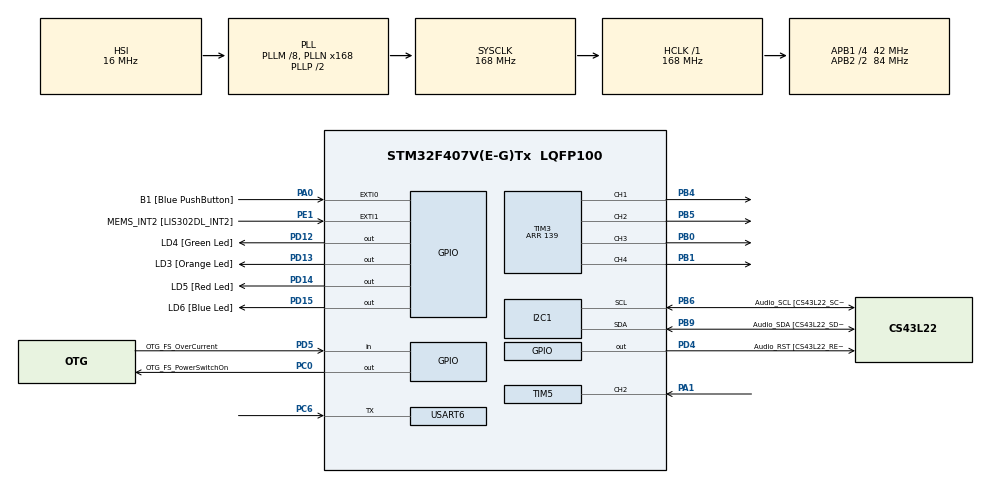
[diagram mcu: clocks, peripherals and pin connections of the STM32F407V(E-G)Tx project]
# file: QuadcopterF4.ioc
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Dma.Request0=TIM3_CH1/TRIG
Dma.Request1=TIM3_CH2
Dma.Request2=TIM3_CH3
Dma.Request3=TIM3_CH4/UP
Dma.Request4=USART6_RX
Dma.TIM3_CH1/TRIG.0.Direction=DMA_MEMORY_TO_PERIPH
Dma.TIM3_CH1/TRIG.0.FIFOMode=DMA_FIFOMODE_DISABLE
Dma.TIM3_CH1/TRIG.0.Instance=DMA1_Stream4
Dma.TIM3_CH1/TRIG.0.MemDataAlignment=DMA_MDATAALIGN_WORD
Dma.TIM3_CH1/TRIG.0.MemInc=DMA_MINC_ENABLE
Dma.TIM3_CH1/TRIG.0.Mode=DMA_CIRCULAR
Dma.TIM3_CH1/TRIG.0.PeriphDataAlignment=DMA_PDATAALIGN_WORD
Dma.TIM3_CH1/TRIG.0.PeriphInc=DMA_PINC_DISABLE
Dma.TIM3_CH1/TRIG.0.Priority=DMA_PRIORITY_VERY_HIGH
Dma.TIM3_CH2.1.Direction=DMA_MEMORY_TO_PERIPH
Dma.TIM3_CH2.1.FIFOMode=DMA_FIFOMODE_DISABLE
Dma.TIM3_CH2.1.Instance=DMA1_Stream5
Dma.TIM3_CH2.1.MemDataAlignment=DMA_MDATAALIGN_WORD
Dma.TIM3_CH2.1.MemInc=DMA_MINC_ENABLE
Dma.TIM3_CH2.1.Mode=DMA_CIRCULAR
Dma.TIM3_CH2.1.PeriphDataAlignment=DMA_PDATAALIGN_WORD
Dma.TIM3_CH2.1.PeriphInc=DMA_PINC_DISABLE
Dma.TIM3_CH2.1.Priority=DMA_PRIORITY_VERY_HIGH
Dma.TIM3_CH3.2.Direction=DMA_MEMORY_TO_PERIPH
Dma.TIM3_CH3.2.FIFOMode=DMA_FIFOMODE_DISABLE
Dma.TIM3_CH3.2.Instance=DMA1_Stream7
Dma.TIM3_CH3.2.MemDataAlignment=DMA_MDATAALIGN_WORD
Dma.TIM3_CH3.2.MemInc=DMA_MINC_ENABLE
Dma.TIM3_CH3.2.Mode=DMA_CIRCULAR
Dma.TIM3_CH3.2.PeriphDataAlignment=DMA_PDATAALIGN_WORD
Dma.TIM3_CH3.2.PeriphInc=DMA_PINC_DISABLE
Dma.TIM3_CH3.2.Priority=DMA_PRIORITY_VERY_HIGH
Dma.TIM3_CH4/UP.3.Direction=DMA_MEMORY_TO_PERIPH
Dma.TIM3_CH4/UP.3.FIFOMode=DMA_FIFOMODE_DISABLE
Dma.TIM3_CH4/UP.3.Instance=DMA1_Stream2
Dma.TIM3_CH4/UP.3.MemDataAlignment=DMA_MDATAALIGN_WORD
Dma.TIM3_CH4/UP.3.MemInc=DMA_MINC_ENABLE
Dma.TIM3_CH4/UP.3.Mode=DMA_CIRCULAR
Dma.TIM3_CH4/UP.3.PeriphDataAlignment=DMA_PDATAALIGN_WORD
Dma.TIM3_CH4/UP.3.PeriphInc=DMA_PINC_DISABLE
Dma.TIM3_CH4/UP.3.Priority=DMA_PRIORITY_VERY_HIGH
Dma.USART6_RX.4.Direction=DMA_PERIPH_TO_MEMORY
Dma.USART6_RX.4.FIFOMode=DMA_FIFOMODE_DISABLE
Dma.USART6_RX.4.Instance=DMA2_Stream1
Dma.USART6_RX.4.MemDataAlignment=DMA_MDATAALIGN_BYTE
Dma.USART6_RX.4.MemInc=DMA_MINC_ENABLE
Dma.USART6_RX.4.Mode=DMA_NORMAL
Dma.USART6_RX.4.PeriphDataAlignment=DMA_PDATAALIGN_BYTE
Dma.USART6_RX.4.PeriphInc=DMA_PINC_DISABLE
Dma.USART6_RX.4.Priority=DMA_PRIORITY_HIGH
I2C1.I2C_Mode=I2C_Fast
Mcu.Family=STM32F4
Mcu.Name=STM32F407V(E-G)Tx
Mcu.Package=LQFP100
NVIC.DMA1_Stream2_IRQn=true\:0\:0\:false\:false\:true\:false\:true
NVIC.DMA1_Stream4_IRQn=true\:0\:0\:false\:false\:true\:false\:true
NVIC.DMA1_Stream5_IRQn=true\:0\:0\:false\:false\:true\:false\:true
NVIC.DMA1_Stream7_IRQn=true\:0\:0\:false\:false\:true\:false\:true
NVIC.DMA2_Stream1_IRQn=true\:0\:0\:false\:false\:true\:false\:true
NVIC.PriorityGroup=NVIC_PRIORITYGROUP_0
NVIC.TIM5_IRQn=true\:0\:0\:false\:false\:true\:true\:true
NVIC.TIM7_IRQn=true\:0\:0\:false\:false\:true\:true\:true
PA0-WKUP.GPIO_Label=B1 [Blue PushButton]
PA0-WKUP.Signal=GPXTI0
PA1.GPIO_PuPd=GPIO_PULLDOWN
PA1.Signal=S_TIM5_CH2
PA10.GPIO_Label=OTG_FS_ID
PA10.GPIO_Mode=GPIO_MODE_AF_PP
PA10.GPIO_PuPd=GPIO_NOPULL
PA10.GPIO_Speed=GPIO_SPEED_FREQ_LOW
PA10.Signal=USB_OTG_FS_ID
PA11.GPIO_Label=OTG_FS_DM
PA11.GPIO_Mode=GPIO_MODE_AF_PP
PA11.GPIO_PuPd=GPIO_NOPULL
PA11.GPIO_Speed=GPIO_SPEED_FREQ_LOW
PA11.Signal=USB_OTG_FS_DM
PA12.GPIO_Label=OTG_FS_DP
PA12.GPIO_Mode=GPIO_MODE_AF_PP
PA12.GPIO_PuPd=GPIO_NOPULL
PA12.GPIO_Speed=GPIO_SPEED_FREQ_LOW
PA12.Signal=USB_OTG_FS_DP
PA13.GPIO_Label=SWDIO
PA13.Signal=SYS_JTMS-SWDIO
PA14.GPIO_Label=SWCLK
PA14.Signal=SYS_JTCK-SWCLK
PA4.GPIO_Label=I2S3_WS [CS43L22_LRCK]
PA4.GPIO_Mode=GPIO_MODE_AF_PP
PA4.GPIO_PuPd=GPIO_NOPULL
PA4.GPIO_Speed=GPIO_SPEED_FREQ_LOW
PA4.Signal=I2S3_WS
PA5.GPIO_Label=SPI1_SCK [LIS302DL_SCL/SPC]
PA5.GPIO_Mode=GPIO_MODE_AF_PP
PA5.GPIO_PuPd=GPIO_NOPULL
PA5.GPIO_Speed=GPIO_SPEED_FREQ_LOW
PA5.Signal=SPI1_SCK
PA6.GPIO_Label=SPI1_MISO [LIS302DL_SDO]
PA6.GPIO_Mode=GPIO_MODE_AF_PP
PA6.GPIO_PuPd=GPIO_NOPULL
PA6.GPIO_Speed=GPIO_SPEED_FREQ_LOW
PA6.Signal=SPI1_MISO
PA7.GPIO_Label=SPI1_MOSI [LIS302DL_SDA/SDI/SDO]
PA7.GPIO_Mode=GPIO_MODE_AF_PP
PA7.GPIO_PuPd=GPIO_NOPULL
PA7.GPIO_Speed=GPIO_SPEED_FREQ_LOW
PA7.Signal=SPI1_MOSI
PA9.GPIO_Label=VBUS_FS
PA9.GPIO_Mode=GPIO_MODE_INPUT
PA9.GPIO_PuPd=GPIO_NOPULL
PA9.Signal=USB_OTG_FS_VBUS
PB0.Signal=S_TIM3_CH3
PB1.Signal=S_TIM3_CH4
PB10.GPIO_Label=CLK_IN [MP45DT02_CLK]
PB10.GPIO_Mode=GPIO_MODE_AF_PP
PB10.GPIO_PuPd=GPIO_NOPULL
PB10.GPIO_Speed=GPIO_SPEED_FREQ_LOW
PB10.Signal=I2S2_CK
PB3.GPIO_Label=SWO
PB3.Signal=SYS_JTDO-SWO
PB4.Signal=S_TIM3_CH1
PB5.Signal=S_TIM3_CH2
PB6.GPIO_Label=Audio_SCL [CS43L22_SCL]
PB6.GPIO_Mode=GPIO_MODE_AF_OD
PB6.GPIO_Pu=GPIO_PULLUP
PB6.GPIO_PuPd=GPIO_NOPULL
PB6.GPIO_Speed=GPIO_SPEED_FREQ_LOW
PB6.Mode=I2C
PB6.Signal=I2C1_SCL
PB9.GPIO_Label=Audio_SDA [CS43L22_SDA]
PB9.GPIO_Mode=GPIO_MODE_AF_OD
PB9.GPIO_Pu=GPIO_PULLUP
PB9.GPIO_PuPd=GPIO_NOPULL
PB9.GPIO_Speed=GPIO_SPEED_FREQ_LOW
PB9.Mode=I2C
PB9.Signal=I2C1_SDA
PC0.GPIO_Label=OTG_FS_PowerSwitchOn
PC0.GPIO_PuPd=GPIO_NOPULL
PC0.GPIO_Speed=GPIO_SPEED_FREQ_LOW
PC0.PinState=GPIO_PIN_SET
PC0.Signal=GPIO_Output
PC10.GPIO_Label=I2S3_SCK [CS43L22_SCLK]
PC10.GPIO_Mode=GPIO_MODE_AF_PP
PC10.GPIO_PuPd=GPIO_NOPULL
PC10.GPIO_Speed=GPIO_SPEED_FREQ_LOW
PC10.Signal=I2S3_CK
PC12.GPIO_Label=I2S3_SD [CS43L22_SDIN]
PC12.GPIO_Mode=GPIO_MODE_AF_PP
PC12.GPIO_PuPd=GPIO_NOPULL
PC12.GPIO_Speed=GPIO_SPEED_FREQ_LOW
PC12.Signal=I2S3_SD
PC14-OSC32_IN.GPIO_Label=PC14-OSC32_IN
PC14-OSC32_IN.Signal=RCC_OSC32_IN
PC15-OSC32_OUT.GPIO_Label=PC15-OSC32_OUT
PC15-OSC32_OUT.Signal=RCC_OSC32_OUT
PC3.GPIO_Label=PDM_OUT [MP45DT02_DOUT]
PC3.GPIO_Mode=GPIO_MODE_AF_PP
PC3.GPIO_PuPd=GPIO_NOPULL
PC3.GPIO_Speed=GPIO_SPEED_FREQ_LOW
PC3.Signal=I2S2_SD
PC6.GPIO_PuPd=GPIO_PULLDOWN
PC6.Mode=Half_duplex(single_wire_mode)
PC6.Signal=USART6_TX
PC7.GPIO_Label=I2S3_MCK [CS43L22_MCLK]
PC7.GPIO_Mode=GPIO_MODE_AF_PP
PC7.GPIO_PuPd=GPIO_NOPULL
PC7.GPIO_Speed=GPIO_SPEED_FREQ_LOW
PC7.Signal=I2S3_MCK
PD12.GPIO_Label=LD4 [Green Led]
PD12.GPIO_PuPd=GPIO_NOPULL
PD12.GPIO_Speed=GPIO_SPEED_FREQ_LOW
PD12.Signal=GPIO_Output
PD13.GPIO_Label=LD3 [Orange Led]
PD13.GPIO_PuPd=GPIO_NOPULL
PD13.GPIO_Speed=GPIO_SPEED_FREQ_LOW
PD13.Signal=GPIO_Output
PD14.GPIO_Label=LD5 [Red Led]
PD14.GPIO_PuPd=GPIO_NOPULL
PD14.GPIO_Speed=GPIO_SPEED_FREQ_LOW
PD14.Signal=GPIO_Output
PD15.GPIO_Label=LD6 [Blue Led]
PD15.GPIO_PuPd=GPIO_NOPULL
PD15.GPIO_Speed=GPIO_SPEED_FREQ_LOW
PD15.Signal=GPIO_Output
PD4.GPIO_Label=Audio_RST [CS43L22_RESET]
PD4.GPIO_PuPd=GPIO_NOPULL
PD4.GPIO_Speed=GPIO_SPEED_FREQ_LOW
PD4.Signal=GPIO_Output
PD5.GPIO_Label=OTG_FS_OverCurrent
PD5.GPIO_Mode=GPIO_MODE_INPUT
PD5.GPIO_PuPd=GPIO_NOPULL
PD5.Signal=GPIO_Input
PE1.GPIO_Label=MEMS_INT2 [LIS302DL_INT2]
PE1.GPIO_ModeDefaultEXTI=GPIO_MODE_EVT_RISING
PE1.GPIO_PuPd=GPIO_NOPULL
PE1.Signal=GPXTI1
PH0-OSC_IN.GPIO_Label=PH0-OSC_IN
PH0-OSC_IN.Signal=RCC_OSC_IN
PH1-OSC_OUT.GPIO_Label=PH1-OSC_OUT
PH1-OSC_OUT.Signal=RCC_OSC_OUT
ProjectManager.HeapSize=0x200
ProjectManager.StackSize=0x400
ProjectManager.TargetToolchain=MDK-ARM V5.32
RCC.48MHZClocksFreq_Value=48000000
RCC.AHBFreq_Value=168000000
RCC.APB1CLKDivider=RCC_HCLK_DIV4
RCC.APB1Freq_Value=42000000
RCC.APB1TimFreq_Value=84000000
RCC.APB2CLKDivider=RCC_HCLK_DIV2
RCC.APB2Freq_Value=84000000
RCC.APB2TimFreq_Value=168000000
RCC.CortexFreq_Value=168000000
RCC.HCLKFreq_Value=168000000
RCC.HSE_VALUE=8000000
RCC.HSI_VALUE=16000000
RCC.LSE_VALUE=32768
RCC.PLLM=8
RCC.PLLN=168
RCC.PLLQ=7
RCC.SYSCLKFreq_VALUE=168000000
RCC.SYSCLKSource=RCC_SYSCLKSOURCE_PLLCLK
RCC.VCOOutputFreq_Value=336000000
SH.S_TIM3_CH1.0=TIM3_CH1,PWM Generation1 CH1
SH.S_TIM3_CH2.0=TIM3_CH2,PWM Generation2 CH2
SH.S_TIM3_CH3.0=TIM3_CH3,PWM Generation3 CH3
SH.S_TIM3_CH4.0=TIM3_CH4,PWM Generation4 CH4
SH.S_TIM5_CH2.0=TIM5_CH2,TriggerSource_TI2FP2
SH.S_TIM5_CH2.1=TIM5_CH2,Input_Capture2_from_TI2
TIM3.Channel-PWM\ Generation1\ CH1=TIM_CHANNEL_1
TIM3.Channel-PWM\ Generation2\ CH2=TIM_CHANNEL_2
TIM3.Channel-PWM\ Generation3\ CH3=TIM_CHANNEL_3
TIM3.Channel-PWM\ Generation4\ CH4=TIM_CHANNEL_4
TIM3.Period=139
TIM5.Channel-Input_Capture2_from_TI2=TIM_CHANNEL_2
TIM5.Channel-Output\ Compare1\ No\ Output=TIM_CHANNEL_1
TIM5.Channel-Output\ Compare3\ No\ Output=TIM_CHANNEL_3
TIM5.Period=14
TIM5.Prescaler=27999
TIM5.Pulse-Output\ Compare1\ No\ Output=9
TIM5.Pulse-Output\ Compare3\ No\ Output=15
TIM7.Period=499
TIM7.Prescaler=41999
USART6.Mode=MODE_RX
USART6.VirtualMode=VM_ASYNC
VP_TIM5_VS_ControllerModeReset.Mode=Reset Mode
VP_TIM5_VS_no_output1.Mode=Output Compare1 No Output
VP_TIM5_VS_no_output3.Mode=Output Compare3 No Output
VP_TIM7_VS_ClockSourceINT.Mode=Enable_Timer
board=STM32F407G-DISC1

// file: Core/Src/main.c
/* USER CODE BEGIN Header */
/**
  ******************************************************************************
  * @file           : main.c
  * @brief          : Main program body
  ******************************************************************************
  * @attention
  *
  * <h2><center>&copy; Copyright (c) 2020 STMicroelectronics.
  * All rights reserved.</center></h2>
  *
  * This software component is licensed by ST under BSD 3-Clause license,
  * the "License"; You may not use this file except in compliance with the
  * License. You may obtain a copy of the License at:
  *                        opensource.org/licenses/BSD-3-Clause
  *
  ******************************************************************************
  */
/* USER CODE END Header */
#include "main.h"

/* USER CODE BEGIN Includes */

#include <stdio.h>
#include "DShot/DShot.h"
#include "Pozyx/Pozyx.h"
#include "Pozyx/Pozyx_definitions.h"
#include "PID/PID.h"
#include "iBus/iBus.h"
#include "Servo/Servo.h"
#include "Motor/Motor.h"

/* USER CODE END Includes */

I2C_HandleTypeDef hi2c1;

TIM_HandleTypeDef htim3;
TIM_HandleTypeDef htim5;
TIM_HandleTypeDef htim7;
DMA_HandleTypeDef hdma_tim3_ch1_trig;
DMA_HandleTypeDef hdma_tim3_ch2;
DMA_HandleTypeDef hdma_tim3_ch3;
DMA_HandleTypeDef hdma_tim3_ch4_up;

UART_HandleTypeDef huart6;
DMA_HandleTypeDef hdma_usart6_rx;

/* USER CODE BEGIN PV */

Motor motor[4];
DShot dshot[] = {{&htim3, TIM_CHANNEL_1}, {&htim3, TIM_CHANNEL_2}, {&htim3, TIM_CHANNEL_3}, {&htim3, TIM_CHANNEL_4}};
iBus ibus(&huart6, &htim5, TIM_CHANNEL_2, TIM_CHANNEL_1, TIM_CHANNEL_3);

uint8_t emniyet;

PozyxClass Pozyx(&hi2c1, 5);
euler_angles_t acilar, referans;

double kontrolSinyali[2];
PID pid_roll, pid_pitch;
double Katsayilar[] = {9, 0.5};
uint16_t w = 280;
uint8_t aralik;

//Servo servo[] = {{ibus, 0, 1, -1500}, {ibus, 1, 1, -1500}, {ibus, 2, 1, -1000}, {ibus, 4, 0.001, -1000}};
int32_t Hiz[4];

/* USER CODE END PV */

void SystemClock_Config(void);
static void MX_GPIO_Init(void);
static void MX_DMA_Init(void);
static void MX_TIM3_Init(void);
static void MX_I2C1_Init(void);
static void MX_USART6_UART_Init(void);
static void MX_TIM5_Init(void);
static void MX_TIM7_Init(void);
/* USER CODE BEGIN PFP */

void DShot_Guncelleme(TIM_HandleTypeDef*);
void PID_Dongusu(TIM_HandleTypeDef*);
void PaketGeldi(UART_HandleTypeDef*);
void Geliyor(TIM_HandleTypeDef*);
void Gelmiyor(TIM_HandleTypeDef*);
void AcikCevrimDenetleyici();
void KapaliCevrimDenetleyici();

/* USER CODE END PFP */

int main(void)
{

  /* MCU Configuration--------------------------------------------------------*/

  /* Reset of all peripherals, Initializes the Flash interface and the Systick. */
  HAL_Init();

  /* Configure the system clock */
  SystemClock_Config();

  /* Initialize all configured peripherals */
  MX_GPIO_Init();
  MX_DMA_Init();
  MX_TIM3_Init();
  MX_I2C1_Init();
  MX_USART6_UART_Init();
  MX_TIM5_Init();
  MX_TIM7_Init();
  /* USER CODE BEGIN 2 */

// 	DShot Baslangiç

	HAL_TIM_RegisterCallback(&htim3, HAL_TIM_PWM_PULSE_FINISHED_CB_ID, &DShot_Guncelleme);
	for (uint8_t i = 0; i < 4; i++)
		dshot[i].Basla();

// 	Denetleyici Baslangiç

//	pid_roll.SetTs(0.25);
//	pid_pitch.SetTs(0.25);
//	HAL_TIM_RegisterCallback(&htim7, HAL_TIM_PERIOD_ELAPSED_CB_ID, &PID_Dongusu);
//	HAL_TIM_Base_Start_IT(&htim7);

//	iBus Baslangiç

//	HAL_UART_RegisterCallback(&huart6, HAL_UART_RX_COMPLETE_CB_ID, &PaketGeldi);
//	HAL_TIM_RegisterCallback(&htim5, HAL_TIM_IC_CAPTURE_CB_ID, &Geliyor);
//	HAL_TIM_RegisterCallback(&htim5, HAL_TIM_OC_DELAY_ELAPSED_CB_ID, &Gelmiyor);
//	ibus.Basla();

//	Pozyx Baslangiç

	Pozyx.begin();

  /* USER CODE END 2 */

  /* Infinite loop */
  /* USER CODE BEGIN WHILE */
  while (1)
  {
	AcikCevrimDenetleyici();

//	pid_roll.SetKpGain(Katsayilar[0]);
//	pid_roll.SetKdGain(Katsayilar[1]);
//
//	pid_pitch.SetKpGain(Katsayilar[0]);
//	pid_pitch.SetKdGain(Katsayilar[1]);

	Pozyx.getEulerAngles_deg(&acilar);
//	while(durum != POZYX_SUCCESS)
//		durum = Pozyx.begin();
    /* USER CODE END WHILE */

  }
}

void SystemClock_Config(void)
{
  RCC_OscInitTypeDef RCC_OscInitStruct = {0};
  RCC_ClkInitTypeDef RCC_ClkInitStruct = {0};

  /** Configure the main internal regulator output voltage
  */
  __HAL_RCC_PWR_CLK_ENABLE();
  __HAL_PWR_VOLTAGESCALING_CONFIG(PWR_REGULATOR_VOLTAGE_SCALE1);
  /** Initializes the RCC Oscillators according to the specified parameters
  * in the RCC_OscInitTypeDef structure.
  */
  RCC_OscInitStruct.OscillatorType = RCC_OSCILLATORTYPE_HSI;
  RCC_OscInitStruct.HSIState = RCC_HSI_ON;
  RCC_OscInitStruct.HSICalibrationValue = RCC_HSICALIBRATION_DEFAULT;
  RCC_OscInitStruct.PLL.PLLState = RCC_PLL_ON;
  RCC_OscInitStruct.PLL.PLLSource = RCC_PLLSOURCE_HSI;
  RCC_OscInitStruct.PLL.PLLM = 8;
  RCC_OscInitStruct.PLL.PLLN = 168;
  RCC_OscInitStruct.PLL.PLLP = RCC_PLLP_DIV2;
  RCC_OscInitStruct.PLL.PLLQ = 7;
  if (HAL_RCC_OscConfig(&RCC_OscInitStruct) != HAL_OK)
  {
    Error_Handler();
  }
  /** Initializes the CPU, AHB and APB buses clocks
  */
  RCC_ClkInitStruct.ClockType = RCC_CLOCKTYPE_HCLK|RCC_CLOCKTYPE_SYSCLK
                              |RCC_CLOCKTYPE_PCLK1|RCC_CLOCKTYPE_PCLK2;
  RCC_ClkInitStruct.SYSCLKSource = RCC_SYSCLKSOURCE_PLLCLK;
  RCC_ClkInitStruct.AHBCLKDivider = RCC_SYSCLK_DIV1;
  RCC_ClkInitStruct.APB1CLKDivider = RCC_HCLK_DIV4;
  RCC_ClkInitStruct.APB2CLKDivider = RCC_HCLK_DIV2;

  if (HAL_RCC_ClockConfig(&RCC_ClkInitStruct, FLASH_LATENCY_5) != HAL_OK)
  {
    Error_Handler();
  }
}

static void MX_I2C1_Init(void)
{

  hi2c1.Instance = I2C1;
  hi2c1.Init.ClockSpeed = 400000;
  hi2c1.Init.DutyCycle = I2C_DUTYCYCLE_2;
  hi2c1.Init.OwnAddress1 = 0;
  hi2c1.Init.AddressingMode = I2C_ADDRESSINGMODE_7BIT;
  hi2c1.Init.DualAddressMode = I2C_DUALADDRESS_DISABLE;
  hi2c1.Init.OwnAddress2 = 0;
  hi2c1.Init.GeneralCallMode = I2C_GENERALCALL_DISABLE;
  hi2c1.Init.NoStretchMode = I2C_NOSTRETCH_DISABLE;
  if (HAL_I2C_Init(&hi2c1) != HAL_OK)
  {
    Error_Handler();
  }

}

static void MX_TIM3_Init(void)
{

  TIM_MasterConfigTypeDef sMasterConfig = {0};
  TIM_OC_InitTypeDef sConfigOC = {0};

  htim3.Instance = TIM3;
  htim3.Init.Prescaler = 0;
  htim3.Init.CounterMode = TIM_COUNTERMODE_UP;
  htim3.Init.Period = 139;
  htim3.Init.ClockDivision = TIM_CLOCKDIVISION_DIV1;
  htim3.Init.AutoReloadPreload = TIM_AUTORELOAD_PRELOAD_DISABLE;
  if (HAL_TIM_PWM_Init(&htim3) != HAL_OK)
  {
    Error_Handler();
  }
  sMasterConfig.MasterOutputTrigger = TIM_TRGO_RESET;
  sMasterConfig.MasterSlaveMode = TIM_MASTERSLAVEMODE_DISABLE;
  if (HAL_TIMEx_MasterConfigSynchronization(&htim3, &sMasterConfig) != HAL_OK)
  {
    Error_Handler();
  }
  sConfigOC.OCMode = TIM_OCMODE_PWM1;
  sConfigOC.Pulse = 0;
  sConfigOC.OCPolarity = TIM_OCPOLARITY_HIGH;
  sConfigOC.OCFastMode = TIM_OCFAST_DISABLE;
  if (HAL_TIM_PWM_ConfigChannel(&htim3, &sConfigOC, TIM_CHANNEL_1) != HAL_OK)
  {
    Error_Handler();
  }
  if (HAL_TIM_PWM_ConfigChannel(&htim3, &sConfigOC, TIM_CHANNEL_2) != HAL_OK)
  {
    Error_Handler();
  }
  if (HAL_TIM_PWM_ConfigChannel(&htim3, &sConfigOC, TIM_CHANNEL_3) != HAL_OK)
  {
    Error_Handler();
  }
  if (HAL_TIM_PWM_ConfigChannel(&htim3, &sConfigOC, TIM_CHANNEL_4) != HAL_OK)
  {
    Error_Handler();
  }
  HAL_TIM_MspPostInit(&htim3);

}

static void MX_TIM5_Init(void)
{

  TIM_SlaveConfigTypeDef sSlaveConfig = {0};
  TIM_MasterConfigTypeDef sMasterConfig = {0};
  TIM_OC_InitTypeDef sConfigOC = {0};
  TIM_IC_InitTypeDef sConfigIC = {0};

  htim5.Instance = TIM5;
  htim5.Init.Prescaler = 27999;
  htim5.Init.CounterMode = TIM_COUNTERMODE_UP;
  htim5.Init.Period = 14;
  htim5.Init.ClockDivision = TIM_CLOCKDIVISION_DIV1;
  htim5.Init.AutoReloadPreload = TIM_AUTORELOAD_PRELOAD_DISABLE;
  if (HAL_TIM_Base_Init(&htim5) != HAL_OK)
  {
    Error_Handler();
  }
  if (HAL_TIM_OC_Init(&htim5) != HAL_OK)
  {
    Error_Handler();
  }
  if (HAL_TIM_IC_Init(&htim5) != HAL_OK)
  {
    Error_Handler();
  }
  sSlaveConfig.SlaveMode = TIM_SLAVEMODE_RESET;
  sSlaveConfig.InputTrigger = TIM_TS_TI2FP2;
  sSlaveConfig.TriggerPolarity = TIM_INPUTCHANNELPOLARITY_RISING;
  sSlaveConfig.TriggerFilter = 0;
  if (HAL_TIM_SlaveConfigSynchro(&htim5, &sSlaveConfig) != HAL_OK)
  {
    Error_Handler();
  }
  sMasterConfig.MasterOutputTrigger = TIM_TRGO_RESET;
  sMasterConfig.MasterSlaveMode = TIM_MASTERSLAVEMODE_DISABLE;
  if (HAL_TIMEx_MasterConfigSynchronization(&htim5, &sMasterConfig) != HAL_OK)
  {
    Error_Handler();
  }
  sConfigOC.OCMode = TIM_OCMODE_TIMING;
  sConfigOC.Pulse = 9;
  sConfigOC.OCPolarity = TIM_OCPOLARITY_HIGH;
  sConfigOC.OCFastMode = TIM_OCFAST_DISABLE;
  if (HAL_TIM_OC_ConfigChannel(&htim5, &sConfigOC, TIM_CHANNEL_1) != HAL_OK)
  {
    Error_Handler();
  }
  sConfigIC.ICPolarity = TIM_INPUTCHANNELPOLARITY_RISING;
  sConfigIC.ICSelection = TIM_ICSELECTION_DIRECTTI;
  sConfigIC.ICPrescaler = TIM_ICPSC_DIV1;
  sConfigIC.ICFilter = 0;
  if (HAL_TIM_IC_ConfigChannel(&htim5, &sConfigIC, TIM_CHANNEL_2) != HAL_OK)
  {
    Error_Handler();
  }
  sConfigOC.Pulse = 15;
  if (HAL_TIM_OC_ConfigChannel(&htim5, &sConfigOC, TIM_CHANNEL_3) != HAL_OK)
  {
    Error_Handler();
  }

}

static void MX_TIM7_Init(void)
{

  TIM_MasterConfigTypeDef sMasterConfig = {0};

  htim7.Instance = TIM7;
  htim7.Init.Prescaler = 41999;
  htim7.Init.CounterMode = TIM_COUNTERMODE_UP;
  htim7.Init.Period = 499;
  htim7.Init.AutoReloadPreload = TIM_AUTORELOAD_PRELOAD_DISABLE;
  if (HAL_TIM_Base_Init(&htim7) != HAL_OK)
  {
    Error_Handler();
  }
  sMasterConfig.MasterOutputTrigger = TIM_TRGO_RESET;
  sMasterConfig.MasterSlaveMode = TIM_MASTERSLAVEMODE_DISABLE;
  if (HAL_TIMEx_MasterConfigSynchronization(&htim7, &sMasterConfig) != HAL_OK)
  {
    Error_Handler();
  }

}

static void MX_USART6_UART_Init(void)
{

  huart6.Instance = USART6;
  huart6.Init.BaudRate = 115200;
  huart6.Init.WordLength = UART_WORDLENGTH_8B;
  huart6.Init.StopBits = UART_STOPBITS_1;
  huart6.Init.Parity = UART_PARITY_NONE;
  huart6.Init.Mode = UART_MODE_RX;
  huart6.Init.HwFlowCtl = UART_HWCONTROL_NONE;
  huart6.Init.OverSampling = UART_OVERSAMPLING_16;
  if (HAL_HalfDuplex_Init(&huart6) != HAL_OK)
  {
    Error_Handler();
  }

}

static void MX_DMA_Init(void)
{

  /* DMA controller clock enable */
  __HAL_RCC_DMA1_CLK_ENABLE();
  __HAL_RCC_DMA2_CLK_ENABLE();

  /* DMA interrupt init */
  /* DMA1_Stream2_IRQn interrupt configuration */
  HAL_NVIC_SetPriority(DMA1_Stream2_IRQn, 0, 0);
  HAL_NVIC_EnableIRQ(DMA1_Stream2_IRQn);
  /* DMA1_Stream4_IRQn interrupt configuration */
  HAL_NVIC_SetPriority(DMA1_Stream4_IRQn, 0, 0);
  HAL_NVIC_EnableIRQ(DMA1_Stream4_IRQn);
  /* DMA1_Stream5_IRQn interrupt configuration */
  HAL_NVIC_SetPriority(DMA1_Stream5_IRQn, 0, 0);
  HAL_NVIC_EnableIRQ(DMA1_Stream5_IRQn);
  /* DMA1_Stream7_IRQn interrupt configuration */
  HAL_NVIC_SetPriority(DMA1_Stream7_IRQn, 0, 0);
  HAL_NVIC_EnableIRQ(DMA1_Stream7_IRQn);
  /* DMA2_Stream1_IRQn interrupt configuration */
  HAL_NVIC_SetPriority(DMA2_Stream1_IRQn, 0, 0);
  HAL_NVIC_EnableIRQ(DMA2_Stream1_IRQn);

}

static void MX_GPIO_Init(void)
{
  GPIO_InitTypeDef GPIO_InitStruct = {0};

  /* GPIO Ports Clock Enable */
  __HAL_RCC_GPIOC_CLK_ENABLE();
  __HAL_RCC_GPIOH_CLK_ENABLE();
  __HAL_RCC_GPIOA_CLK_ENABLE();
  __HAL_RCC_GPIOB_CLK_ENABLE();
  __HAL_RCC_GPIOD_CLK_ENABLE();
  __HAL_RCC_GPIOE_CLK_ENABLE();

  /*Configure GPIO pin Output Level */
  HAL_GPIO_WritePin(OTG_FS_PowerSwitchOn_GPIO_Port, OTG_FS_PowerSwitchOn_Pin, GPIO_PIN_SET);

  /*Configure GPIO pin Output Level */
  HAL_GPIO_WritePin(GPIOD, LD4_Pin|LD3_Pin|LD5_Pin|LD6_Pin
                          |Audio_RST_Pin, GPIO_PIN_RESET);

  /*Configure GPIO pin : OTG_FS_PowerSwitchOn_Pin */
  GPIO_InitStruct.Pin = OTG_FS_PowerSwitchOn_Pin;
  GPIO_InitStruct.Mode = GPIO_MODE_OUTPUT_PP;
  GPIO_InitStruct.Pull = GPIO_NOPULL;
  GPIO_InitStruct.Speed = GPIO_SPEED_FREQ_LOW;
  HAL_GPIO_Init(OTG_FS_PowerSwitchOn_GPIO_Port, &GPIO_InitStruct);

  /*Configure GPIO pin : PDM_OUT_Pin */
  GPIO_InitStruct.Pin = PDM_OUT_Pin;
  GPIO_InitStruct.Mode = GPIO_MODE_AF_PP;
  GPIO_InitStruct.Pull = GPIO_NOPULL;
  GPIO_InitStruct.Speed = GPIO_SPEED_FREQ_LOW;
  GPIO_InitStruct.Alternate = GPIO_AF5_SPI2;
  HAL_GPIO_Init(PDM_OUT_GPIO_Port, &GPIO_InitStruct);

  /*Configure GPIO pin : B1_Pin */
  GPIO_InitStruct.Pin = B1_Pin;
  GPIO_InitStruct.Mode = GPIO_MODE_IT_RISING;
  GPIO_InitStruct.Pull = GPIO_NOPULL;
  HAL_GPIO_Init(B1_GPIO_Port, &GPIO_InitStruct);

  /*Configure GPIO pin : I2S3_WS_Pin */
  GPIO_InitStruct.Pin = I2S3_WS_Pin;
  GPIO_InitStruct.Mode = GPIO_MODE_AF_PP;
  GPIO_InitStruct.Pull = GPIO_NOPULL;
  GPIO_InitStruct.Speed = GPIO_SPEED_FREQ_LOW;
  GPIO_InitStruct.Alternate = GPIO_AF6_SPI3;
  HAL_GPIO_Init(I2S3_WS_GPIO_Port, &GPIO_InitStruct);

  /*Configure GPIO pins : SPI1_SCK_Pin SPI1_MISO_Pin SPI1_MOSI_Pin */
  GPIO_InitStruct.Pin = SPI1_SCK_Pin|SPI1_MISO_Pin|SPI1_MOSI_Pin;
  GPIO_InitStruct.Mode = GPIO_MODE_AF_PP;
  GPIO_InitStruct.Pull = GPIO_NOPULL;
  GPIO_InitStruct.Speed = GPIO_SPEED_FREQ_LOW;
  GPIO_InitStruct.Alternate = GPIO_AF5_SPI1;
  HAL_GPIO_Init(GPIOA, &GPIO_InitStruct);

  /*Configure GPIO pin : CLK_IN_Pin */
  GPIO_InitStruct.Pin = CLK_IN_Pin;
  GPIO_InitStruct.Mode = GPIO_MODE_AF_PP;
  GPIO_InitStruct.Pull = GPIO_NOPULL;
  GPIO_InitStruct.Speed = GPIO_SPEED_FREQ_LOW;
  GPIO_InitStruct.Alternate = GPIO_AF5_SPI2;
  HAL_GPIO_Init(CLK_IN_GPIO_Port, &GPIO_InitStruct);

  /*Configure GPIO pins : LD4_Pin LD3_Pin LD5_Pin LD6_Pin
                           Audio_RST_Pin */
  GPIO_InitStruct.Pin = LD4_Pin|LD3_Pin|LD5_Pin|LD6_Pin
                          |Audio_RST_Pin;
  GPIO_InitStruct.Mode = GPIO_MODE_OUTPUT_PP;
  GPIO_InitStruct.Pull = GPIO_NOPULL;
  GPIO_InitStruct.Speed = GPIO_SPEED_FREQ_LOW;
  HAL_GPIO_Init(GPIOD, &GPIO_InitStruct);

  /*Configure GPIO pins : I2S3_MCK_Pin I2S3_SCK_Pin I2S3_SD_Pin */
  GPIO_InitStruct.Pin = I2S3_MCK_Pin|I2S3_SCK_Pin|I2S3_SD_Pin;
  GPIO_InitStruct.Mode = GPIO_MODE_AF_PP;
  GPIO_InitStruct.Pull = GPIO_NOPULL;
  GPIO_InitStruct.Speed = GPIO_SPEED_FREQ_LOW;
  GPIO_InitStruct.Alternate = GPIO_AF6_SPI3;
  HAL_GPIO_Init(GPIOC, &GPIO_InitStruct);

  /*Configure GPIO pin : VBUS_FS_Pin */
  GPIO_InitStruct.Pin = VBUS_FS_Pin;
  GPIO_InitStruct.Mode = GPIO_MODE_INPUT;
  GPIO_InitStruct.Pull = GPIO_NOPULL;
  HAL_GPIO_Init(VBUS_FS_GPIO_Port, &GPIO_InitStruct);

  /*Configure GPIO pins : OTG_FS_ID_Pin OTG_FS_DM_Pin OTG_FS_DP_Pin */
  GPIO_InitStruct.Pin = OTG_FS_ID_Pin|OTG_FS_DM_Pin|OTG_FS_DP_Pin;
  GPIO_InitStruct.Mode = GPIO_MODE_AF_PP;
  GPIO_InitStruct.Pull = GPIO_NOPULL;
  GPIO_InitStruct.Speed = GPIO_SPEED_FREQ_LOW;
  GPIO_InitStruct.Alternate = GPIO_AF10_OTG_FS;
  HAL_GPIO_Init(GPIOA, &GPIO_InitStruct);

  /*Configure GPIO pin : OTG_FS_OverCurrent_Pin */
  GPIO_InitStruct.Pin = OTG_FS_OverCurrent_Pin;
  GPIO_InitStruct.Mode = GPIO_MODE_INPUT;
  GPIO_InitStruct.Pull = GPIO_NOPULL;
  HAL_GPIO_Init(OTG_FS_OverCurrent_GPIO_Port, &GPIO_InitStruct);

  /*Configure GPIO pin : MEMS_INT2_Pin */
  GPIO_InitStruct.Pin = MEMS_INT2_Pin;
  GPIO_InitStruct.Mode = GPIO_MODE_EVT_RISING;
  GPIO_InitStruct.Pull = GPIO_NOPULL;
  HAL_GPIO_Init(MEMS_INT2_GPIO_Port, &GPIO_InitStruct);

}

/* USER CODE BEGIN 4 */

void PID_Dongusu(TIM_HandleTypeDef *htim)
{
	pid_roll.Update(referans.roll - acilar.roll);
	pid_pitch.Update(referans.pitch - acilar.pitch);
	AcikCevrimDenetleyici();
	HAL_GPIO_TogglePin(GPIOD, GPIO_PIN_15);
}

void DShot_Guncelleme(TIM_HandleTypeDef *htim)
{
	// En yüksek degerli bit hesaplama, look-up table...
	switch (htim->Channel)
	{
		case HAL_TIM_ACTIVE_CHANNEL_1:
			dshot[0].update(motor[0].GetHizDShot() * (emniyet == 1));
//		 * servo[3].ChannelValue()
//			W[0] = w + pid_roll.GetOutput();
//			W[0] = (w + k * acilar.roll);
			break;
		case HAL_TIM_ACTIVE_CHANNEL_2:
			dshot[1].update(motor[1].GetHizDShot() * (emniyet == 1));
//			W[1] = w + pid_pitch.GetOutput();
//			W[1] = (w + k * acilar.pitch);
			break;
		case HAL_TIM_ACTIVE_CHANNEL_3:
			dshot[2].update(motor[2].GetHizDShot() * (emniyet == 1));
//			W[2] = w - pid_roll.GetOutput();
//			W[2] = (w - k * acilar.roll);
			break;
		case HAL_TIM_ACTIVE_CHANNEL_4:
			dshot[3].update(motor[3].GetHizDShot() * (emniyet == 1));
//			W[3] = w - pid_pitch.GetOutput();
//			W[3] = (w - k * acilar.pitch);
			break;
		case HAL_TIM_ACTIVE_CHANNEL_CLEARED:
			break;
	}
}

void PaketGeldi(UART_HandleTypeDef *huart)
{
	ibus.PaketGeldi();
}

void Geliyor(TIM_HandleTypeDef *htim)
{
	ibus.Geliyor();
}

void Gelmiyor(TIM_HandleTypeDef *htim)
{
	switch (htim->Channel)
	{
		case HAL_TIM_ACTIVE_CHANNEL_1:
			ibus.Beklemede();
			break;
		case HAL_TIM_ACTIVE_CHANNEL_3:
			ibus.Gelmiyor();
			break;
		default:
			break;
	}
}

void AcikCevrimDenetleyici()
{
//	motor[0].SetSpeedDShot(servo[2].ChannelValue() - servo[0].ChannelValue());
//	motor[1].SetSpeedDShot(servo[2].ChannelValue() + servo[1].ChannelValue());
//	motor[2].SetSpeedDShot(servo[2].ChannelValue() + servo[0].ChannelValue());
//	motor[3].SetSpeedDShot(servo[2].ChannelValue() - servo[1].ChannelValue());
	for	(uint8_t i = 0; i < 4; i++)
		motor[i].SetHizDShot(Hiz[i]);
}

void KapaliCevrimDenetleyici()
{
	kontrolSinyali[0] = pid_roll.GetOutput();
	kontrolSinyali[1] = pid_pitch.GetOutput();
	motor[0].SetHizDShot(w - pid_pitch.GetOutput());
	motor[1].SetHizDShot(w + pid_roll.GetOutput());
	motor[2].SetHizDShot(w + pid_pitch.GetOutput());
	motor[3].SetHizDShot(w - pid_roll.GetOutput());
	Hiz[0] = motor[0].GetHizDShot();
	Hiz[1] = motor[1].GetHizDShot();
	Hiz[2] = motor[2].GetHizDShot();
	Hiz[3] = motor[3].GetHizDShot();
}

/* USER CODE END 4 */

void Error_Handler(void)
{
}

/************************ (C) COPYRIGHT STMicroelectronics *****END OF FILE****/
